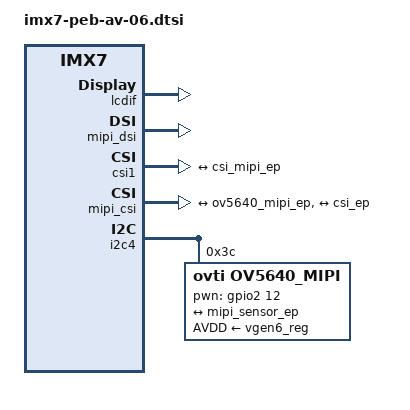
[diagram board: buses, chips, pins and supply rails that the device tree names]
/*
 * Copyright (C) 2018 PHYTEC America, LLC
 *
 * This program is free software; you can redistribute it and/or modify
 * it under the terms of the GNU General Public License version 2 as
 * published by the Free Software Foundation.
 */

&lcdif {
	display = <&display0>;
	disp-dev = "mipi_dsi_samsung";
	disp-videomode = "TRUULY-WVGA-SYNC-LOW";

	status = "okay";

	display0: display {
		bits-per-pixel = <32>;
		bus-width = <24>;
	};
};

&mipi_dsi {
	lcd_panel = "TRULY-WVGA-TFT3P5581E";
	status = "okay";
};

&csi1 {
	csi-mux-mipi = <&gpr 0x14 4>;
	status = "okay";

	port {
		csi_ep: endpoint {
			remote-endpoint = <&csi_mipi_ep>;
		};
	};
};

&mipi_csi {
	clock-frequency = <240000000>;
	status = "okay";
	port {
		mipi_sensor_ep: endpoint1 {
			remote-endpoint = <&ov5640_mipi_ep>;
			data-lanes = <2>;
			csis-hs-settle = <13>;
			csis-clk-settle = <2>;
			csis-wclk;
		};

		csi_mipi_ep: endpoint2 {
			remote-endpoint = <&csi_ep>;
		};
	};
};

&iomuxc {
	imx7d-phycore {
		pinctrl_i2c4: i2c4grp {
			fsl,pins = <
				MX7D_PAD_I2C4_SCL__I2C4_SCL	0x4000007e
				MX7D_PAD_I2C4_SDA__I2C4_SDA	0x4000007e
			>;
		};

		pinctrl_mipigpio: mipigpiogrp {
			fsl,pins = <
				MX7D_PAD_EPDC_DATA12__GPIO2_IO12	0x59
			>;
		};
	};
};

&i2c4 {
	status = "okay";

	ov5640_mipi: ov5640_mipi@3c {
		pinctrl-names = "default";
		pinctrl-0 = <&pinctrl_mipigpio>;
		compatible = "ovti,ov5640_mipi";
		reg = <0x3c>;
		clocks = <&clks IMX7D_CLK_DUMMY>;
		clock-names = "csi_mclk";
		csi_id = <0>;
		pwn-gpios = <&gpio2 12 GPIO_ACTIVE_HIGH>;
		AVDD-supply = <&vgen6_reg>;
		mclk = <24000000>;
		mclk_source = <0>;

		port {
			ov5640_mipi_ep: endpoint {
				remote-endpoint = <&mipi_sensor_ep>;
			};
		};
	};
};
